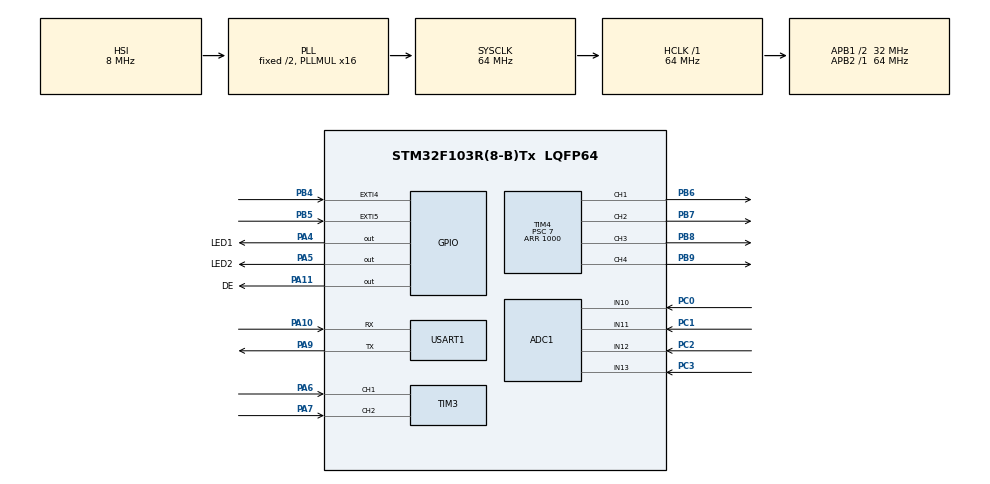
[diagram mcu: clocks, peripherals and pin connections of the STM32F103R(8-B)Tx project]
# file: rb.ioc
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ADC1.Channel-0\#ChannelRegularConversion=ADC_CHANNEL_11
ADC1.Channel-1\#ChannelRegularConversion=ADC_CHANNEL_10
ADC1.Channel-2\#ChannelRegularConversion=ADC_CHANNEL_12
ADC1.Channel-3\#ChannelRegularConversion=ADC_CHANNEL_13
ADC1.ContinuousConvMode=ENABLE
ADC1.NbrOfConversion=4
ADC1.NbrOfConversionFlag=1
ADC1.Rank-0\#ChannelRegularConversion=1
ADC1.Rank-1\#ChannelRegularConversion=2
ADC1.Rank-2\#ChannelRegularConversion=3
ADC1.Rank-3\#ChannelRegularConversion=4
ADC1.SamplingTime-0\#ChannelRegularConversion=ADC_SAMPLETIME_7CYCLES_5
ADC1.SamplingTime-1\#ChannelRegularConversion=ADC_SAMPLETIME_7CYCLES_5
ADC1.SamplingTime-2\#ChannelRegularConversion=ADC_SAMPLETIME_7CYCLES_5
ADC1.SamplingTime-3\#ChannelRegularConversion=ADC_SAMPLETIME_7CYCLES_5
ADC1.master=1
Dma.ADC1.0.Direction=DMA_PERIPH_TO_MEMORY
Dma.ADC1.0.Instance=DMA1_Channel1
Dma.ADC1.0.MemDataAlignment=DMA_MDATAALIGN_HALFWORD
Dma.ADC1.0.MemInc=DMA_MINC_ENABLE
Dma.ADC1.0.Mode=DMA_CIRCULAR
Dma.ADC1.0.PeriphDataAlignment=DMA_PDATAALIGN_HALFWORD
Dma.ADC1.0.PeriphInc=DMA_PINC_DISABLE
Dma.ADC1.0.Priority=DMA_PRIORITY_LOW
Dma.Request0=ADC1
Mcu.Family=STM32F1
Mcu.Name=STM32F103R(8-B)Tx
Mcu.Package=LQFP64
NVIC.DMA1_Channel1_IRQn=true\:0\:0\:false\:false\:true\:false\:true\:true
NVIC.EXTI4_IRQn=true\:1\:0\:true\:false\:true\:true\:true\:true
NVIC.EXTI9_5_IRQn=true\:1\:0\:true\:false\:true\:true\:true\:true
NVIC.PriorityGroup=NVIC_PRIORITYGROUP_4
NVIC.TIM1_UP_IRQn=true\:2\:0\:true\:false\:true\:true\:true\:true
NVIC.TIM2_IRQn=true\:0\:0\:false\:false\:true\:true\:true\:true
NVIC.USART1_IRQn=true\:3\:0\:true\:false\:true\:true\:true\:true
PA10.Mode=Asynchronous
PA10.Signal=USART1_RX
PA11.GPIO_Label=DE
PA11.Signal=GPIO_Output
PA13.Mode=Serial_Wire
PA13.Signal=SYS_JTMS-SWDIO
PA14.Mode=Serial_Wire
PA14.Signal=SYS_JTCK-SWCLK
PA4.GPIO_Label=LED1
PA4.Signal=GPIO_Output
PA5.GPIO_Label=LED2
PA5.Signal=GPIO_Output
PA6.Signal=S_TIM3_CH1
PA7.Signal=S_TIM3_CH2
PA9.Mode=Asynchronous
PA9.Signal=USART1_TX
PB4.Signal=GPXTI4
PB5.Signal=GPXTI5
PB6.Signal=S_TIM4_CH1
PB7.Signal=S_TIM4_CH2
PB8.Signal=S_TIM4_CH3
PB9.Signal=S_TIM4_CH4
PC0.Signal=ADCx_IN10
PC1.Signal=ADCx_IN11
PC2.Signal=ADCx_IN12
PC3.Signal=ADCx_IN13
ProjectManager.HeapSize=0x200
ProjectManager.StackSize=0x400
ProjectManager.TargetToolchain=STM32CubeIDE
RCC.ADCPresc=RCC_ADCPCLK2_DIV8
RCC.AHBFreq_Value=64000000
RCC.APB1CLKDivider=RCC_HCLK_DIV2
RCC.APB1Freq_Value=32000000
RCC.APB1TimFreq_Value=64000000
RCC.APB2Freq_Value=64000000
RCC.APB2TimFreq_Value=64000000
RCC.HCLKFreq_Value=64000000
RCC.PLLMUL=RCC_PLL_MUL16
RCC.SYSCLKFreq_VALUE=64000000
RCC.SYSCLKSource=RCC_SYSCLKSOURCE_PLLCLK
RCC.USBFreq_Value=64000000
SH.ADCx_IN10.0=ADC1_IN10,IN10
SH.ADCx_IN11.0=ADC1_IN11,IN11
SH.ADCx_IN12.0=ADC1_IN12,IN12
SH.ADCx_IN13.0=ADC1_IN13,IN13
SH.S_TIM3_CH1.0=TIM3_CH1,Encoder_Interface
SH.S_TIM3_CH2.0=TIM3_CH2,Encoder_Interface
SH.S_TIM4_CH1.0=TIM4_CH1,PWM Generation1 CH1
SH.S_TIM4_CH2.0=TIM4_CH2,PWM Generation2 CH2
SH.S_TIM4_CH3.0=TIM4_CH3,PWM Generation3 CH3
SH.S_TIM4_CH4.0=TIM4_CH4,PWM Generation4 CH4
TIM1.Period=99
TIM1.Prescaler=63
TIM2.Prescaler=1
TIM3.EncoderMode=TIM_ENCODERMODE_TI12
TIM3.IC1Filter=4
TIM3.IC2Filter=4
TIM4.Channel-PWM\ Generation1\ CH1=TIM_CHANNEL_1
TIM4.Channel-PWM\ Generation2\ CH2=TIM_CHANNEL_2
TIM4.Channel-PWM\ Generation3\ CH3=TIM_CHANNEL_3
TIM4.Channel-PWM\ Generation4\ CH4=TIM_CHANNEL_4
TIM4.Period=1000
TIM4.Prescaler=7
USART1.VirtualMode=VM_ASYNC
VP_TIM1_VS_ClockSourceINT.Mode=Internal
VP_TIM2_VS_ClockSourceINT.Mode=Internal
VP_TIM4_VS_ClockSourceINT.Mode=Internal
board=custom

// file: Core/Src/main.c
/* USER CODE BEGIN Header */
/**
  ******************************************************************************
  * @file           : main.c
  * @brief          : Main program body
  ******************************************************************************
  * @attention
  *
  * Copyright (c) 2026 STMicroelectronics.
  * All rights reserved.
  *
  * This software is licensed under terms that can be found in the LICENSE file
  * in the root directory of this software component.
  * If no LICENSE file comes with this software, it is provided AS-IS.
  *
  ******************************************************************************
  */
/* USER CODE END Header */
#include "main.h"

/* USER CODE BEGIN Includes */
#include "motor_control.h"
#include "modbus.h"
#include "input.h"      /* MotorControl_ProcessInputs / MotorControl_UpdateIrqPriority */
#include "afangkaobei.h"
#include "ajiajiansu.h"
/* USER CODE END Includes */

ADC_HandleTypeDef hadc1;
DMA_HandleTypeDef hdma_adc1;

TIM_HandleTypeDef htim1;
TIM_HandleTypeDef htim2;
TIM_HandleTypeDef htim3;
TIM_HandleTypeDef htim4;

UART_HandleTypeDef huart1;

/* USER CODE BEGIN PV */
MotorControl_t motor;
MB_Context_t mb_ctx;
/* USER CODE END PV */

void SystemClock_Config(void);
static void MX_GPIO_Init(void);
static void MX_DMA_Init(void);
static void MX_TIM3_Init(void);
static void MX_TIM4_Init(void);
static void MX_USART1_UART_Init(void);
static void MX_TIM1_Init(void);
static void MX_ADC1_Init(void);
static void MX_TIM2_Init(void);

int main(void)
{

  /* MCU Configuration--------------------------------------------------------*/

  /* Reset of all peripherals, Initializes the Flash interface and the Systick. */
  HAL_Init();

  /* Configure the system clock */
  SystemClock_Config();

  /* Initialize all configured peripherals */
  MX_GPIO_Init();
  MX_DMA_Init();
  MX_TIM3_Init();
  MX_TIM4_Init();
  MX_USART1_UART_Init();
  MX_TIM1_Init();
  MX_ADC1_Init();
  MX_TIM2_Init();
  /* USER CODE BEGIN 2 */
  /* 初始化电机控读取PID: 位置�???? Kp=7.00 Ki=10.00 Kd=0.10 | 速度�???? Kp=0.30 Ki=3.00 Kd=0.00�????? */
  MotorControl_Init(&motor, 7.0f, 10.1f, 0.1f, 0.30f, 3.0f, 0.0f, 1, 900);
  if (MODBUS_IsSupportedBaud(motor.modbus_baud) && huart1.Init.BaudRate != motor.modbus_baud) {
    HAL_UART_DeInit(&huart1);
    huart1.Init.BaudRate = motor.modbus_baud;
    if (HAL_UART_Init(&huart1) != HAL_OK) {
      Error_Handler();
    }
  }

  /* 初始化MODBUS RTU协议 */
  MODBUS_Init(&mb_ctx, motor.modbus_addr, &motor);

  /* 启动电机控制 */
  Motor_Start();

  /* ========== 开机自动零点电流校准(新增) ==========
   * 若Flash中使能了auto_calib_current_on_boot(上位机0x00A0=1):
   *   每次开机自动读取ADC零电流offset, 结果仅用于本次运行, 不保存Flash
   *   避免频繁烧写Flash, 适合零点会随温度漂移的场景
   * 若关闭(0x00A0=0, 默认): 使用Flash中保存的offset, 用户手动校准(写0x004D=0xFFFF)后存Flash
   * 此时Motor_Start已启动ADC DMA, 且TIM1 PID中断尚未启动, 电机无电流, 是校准最佳时机 */
  if (motor.auto_calib_current_on_boot) {
    /* 等待ADC DMA缓冲区填满(连续转换模式, 10ms足够100个样本刷新多轮) */
    HAL_Delay(10);
    MotorControl_AutoCalibrateCurrentOffset(&motor);
    /* 不调用SaveConfig: 避免每次开机烧写Flash */
  }

  /* 加速表开机加载(新增): 检查Flash中是否有自定义加速表, 有则切换指针 */
  AccTable_LoadOnBoot();
  /* 同步加速表参数到MODBUS缓存: 使上位机读取0x0092~0x0097时能读到Flash中的实际参数,
   * 而非默认值. 解决重启后上位机显示默认参数、用户误以为表被重置的问题 */
  MODBUS_SyncAccParams();

  if (motor.home_auto_start) {
    MotorControl_StartHoming(&motor);
  }
  /* 启动TIM1 100us中断（MODBUS帧间超时 + PID定时器滴答 */
  HAL_TIM_Base_Start_IT(&htim1);
  /* TIM1固定优先级1(覆盖CubeMX在MspInit中的默认值2, 不再随脉冲模式动态切换)
   * EXTI脉冲中断同为优先级1, 同级不互相抢占, 靠硬件PR锁存保证不丢脉冲 */
  //HAL_NVIC_SetPriority(TIM1_UP_IRQn, 1, 0);

  /* 启动UART中断接收（每字节，由HAL_UART_RxCpltCallback处理） */
  HAL_UART_Receive_IT(&huart1, &mb_ctx.rx_byte, 1);

  /* EXTI外部中断由MotorControl_UpdateIrqPriority统一配置:
   *   PB4/PB5配置为PIN_FUNC_PULSE时, 启用EXTI边沿触发(优先级1, 与TIM1同级)
   *   无脉冲输入时关闭EXTI NVIC, 释放CPU给USART1等
   * 注: TIM2已释放可作其他用途, 由EXTI4/EXTI9_5中断直接处理脉冲边沿 */
  MotorControl_UpdateIrqPriority();

  /* 中断优先级配置: 使用Flash中保存的值(可通过上位机MODBUS寄存器0x00A3~0x00A7在线调整)
   * 默认值(与原硬编码一致): USART1=1, TIM1=2, TIM2=3, EXTI4=1, EXTI9_5=1
   * 优先级原则(数值小=优先级高):
   *   USART1 - 串口字节到达必须立即处理, 避免ORE溢出丢包
   *   TIM1_UP - 100μs周期PID
   *   EXTI4/EXTI9_5 - 脉冲输入, 靠硬件PR锁存保证不丢边沿
   * 注: MX_GPIO_Init设EXTI=0(最高), stm32f1xx_hal_msp.c设TIM1=2/USART1=3,
   *     此处用Flash配置值覆盖MspInit的默认值 */
  HAL_NVIC_SetPriority(USART1_IRQn, motor.irq_prio_usart1, 0);
  HAL_NVIC_SetPriority(TIM1_UP_IRQn, motor.irq_prio_tim1, 0);
  HAL_NVIC_SetPriority(TIM2_IRQn, motor.irq_prio_tim2, 0);
  HAL_NVIC_SetPriority(EXTI4_IRQn, motor.irq_prio_exti4, 0);
  HAL_NVIC_SetPriority(EXTI9_5_IRQn, motor.irq_prio_exti9_5, 0);
  /* USER CODE END 2 */

  /* Infinite loop */
  /* USER CODE BEGIN WHILE */
  /* 步进加减速: 若Flash中使能(上位机勾选并保存), 初始化算法并启动TIM2 (新增)
   * 未使能时TIM2不启动, 保持原有行为不变 */
  if (motor.step_accel_en) {
      StepAccel_Enable(1, Encoder_GetCount());
  }
  while(fangkaobei(0) == 1);
  while (1)
  {
	  /* ========== 电机运行参数读取（每次主循环刷新）==========
	   * 这些变量可在下方任意逻辑中直接使用, 也可通过调试器/串口观察 */
	  int64_t cur_pos    = Encoder_GetCount();      /* 当前实际编码器位置(脉冲) */
	  float   cur_speed  = Encoder_GetSpeed();      /* 当前实际速度(脉冲/秒, 已滤波) */
	  int64_t tgt_pos    = motor.target_position;   /* 目标位置(脉冲)
	                                                 * 注意: 步进加减速使能时此处为算法输出的中间位置,
	                                                 * 真正的预设目标在 bujindianji[0].yudingweizhi */
	  float   tgt_speed  = motor.target_speed;      /* 目标速度(脉冲/秒) */
	  int16_t cur_pwm    = MotorControl_GetPWM();   /* 当前PWM输出(-1000~+1000 = -100%~+100%) */
	  MotorMode_t mode   = motor.mode;              /* 当前运行模式 */
	  float   cur_cur    = MotorControl_GetCurrent();         /* 当前实际电流(相对值, ±1000=±8.25A) */
	  float   tgt_cur    = MotorControl_GetCurrentTarget();   /* 电流目标(相对值) */
	  float   supply_v   = MotorControl_GetSupplyVoltage();   /* 供电电压(V) */

	  // 示例：每 500ms 执行一次
	  static int64_t last_500ms = 0;
	  int64_t now = SYS_GetTimeMs();
	  if (now - last_500ms >= 500) {
		  last_500ms = now;
	  }

	  /* 每5秒在位置0和10000之间来回切换 */
	  static int64_t last_2s = 0;
	  static int64_t weizhi = 0;
	  if (now - last_2s >= 1000) {
		  last_2s = now;
		  if(weizhi == 1000) weizhi = 0;
		  else weizhi = 1000;
		  MotorControl_SetTarget(&motor, weizhi);
		  MODBUS_SyncTargetPosition(weizhi);
	  }

    /* ============ 系统任务（勿删）============ */
	  /* ========== LED1 状态指示灯 ==========
		   * 正常状态：常亮（高电平）
		   * 异常状态（复位中/复位失败/堵转/过流）：闪烁（200ms周期，约5Hz） */
		  {
			  uint8_t has_fault = 0;
			  if (MotorControl_IsHoming())           has_fault = 1;  /* 正在复位 */
			  else if (MotorControl_HomingFailed())  has_fault = 1;  /* 复位失败 */
			  else if (MotorControl_IsStallTripped()) has_fault = 1; /* 堵转保护 */
			  else if (motor.over_current_tripped)   has_fault = 1;  /* 过流保护 */

			  if (has_fault) {
				  static int64_t last_led1_toggle = 0;
				  if (now - last_led1_toggle >= 200) {
					  last_led1_toggle = now;
					  HAL_GPIO_TogglePin(LED1_GPIO_Port, LED1_Pin);
				  }
			  } else {
				  HAL_GPIO_WritePin(LED1_GPIO_Port, LED1_Pin, GPIO_PIN_SET);  /* 常亮（高电平） */
			  }
		  }

		  /* ========== LED2 通讯状态指示灯 ==========
		   * 收到MODBUS帧时点亮50ms，平时熄灭 */
		  {
			  static uint32_t last_rx_count = 0;
			  static int64_t led2_on_time = 0;
			  if (mb_ctx.rx_count != last_rx_count) {
				  last_rx_count = mb_ctx.rx_count;
				  led2_on_time = now;
				  HAL_GPIO_WritePin(LED2_GPIO_Port, LED2_Pin, GPIO_PIN_SET);
			  } else if (now - led2_on_time >= 50) {
				  HAL_GPIO_WritePin(LED2_GPIO_Port, LED2_Pin, GPIO_PIN_RESET);
			  }
		  }
    /* 处理PB4/PB5输入引脚 */
    MotorControl_ProcessInputs();

    /* 处理MODBUS�????? */
    MODBUS_Process(&mb_ctx);

    /* �?????测UART接收是否意外停止（ORE等错误后HAL会中止），自动重�????? */
    if (huart1.RxState == HAL_UART_STATE_READY) {
      HAL_UART_Receive_IT(&huart1, &mb_ctx.rx_byte, 1);
    }
  }
  /* USER CODE END 3 */
}

void SystemClock_Config(void)
{
  RCC_OscInitTypeDef RCC_OscInitStruct = {0};
  RCC_ClkInitTypeDef RCC_ClkInitStruct = {0};
  RCC_PeriphCLKInitTypeDef PeriphClkInit = {0};

  /** Initializes the RCC Oscillators according to the specified parameters
  * in the RCC_OscInitTypeDef structure.
  */
  RCC_OscInitStruct.OscillatorType = RCC_OSCILLATORTYPE_HSI;
  RCC_OscInitStruct.HSIState = RCC_HSI_ON;
  RCC_OscInitStruct.HSICalibrationValue = RCC_HSICALIBRATION_DEFAULT;
  RCC_OscInitStruct.PLL.PLLState = RCC_PLL_ON;
  RCC_OscInitStruct.PLL.PLLSource = RCC_PLLSOURCE_HSI_DIV2;
  RCC_OscInitStruct.PLL.PLLMUL = RCC_PLL_MUL16;
  if (HAL_RCC_OscConfig(&RCC_OscInitStruct) != HAL_OK)
  {
    Error_Handler();
  }

  /** Initializes the CPU, AHB and APB buses clocks
  */
  RCC_ClkInitStruct.ClockType = RCC_CLOCKTYPE_HCLK|RCC_CLOCKTYPE_SYSCLK
                              |RCC_CLOCKTYPE_PCLK1|RCC_CLOCKTYPE_PCLK2;
  RCC_ClkInitStruct.SYSCLKSource = RCC_SYSCLKSOURCE_PLLCLK;
  RCC_ClkInitStruct.AHBCLKDivider = RCC_SYSCLK_DIV1;
  RCC_ClkInitStruct.APB1CLKDivider = RCC_HCLK_DIV2;
  RCC_ClkInitStruct.APB2CLKDivider = RCC_HCLK_DIV1;

  if (HAL_RCC_ClockConfig(&RCC_ClkInitStruct, FLASH_LATENCY_2) != HAL_OK)
  {
    Error_Handler();
  }
  PeriphClkInit.PeriphClockSelection = RCC_PERIPHCLK_ADC;
  PeriphClkInit.AdcClockSelection = RCC_ADCPCLK2_DIV8;
  if (HAL_RCCEx_PeriphCLKConfig(&PeriphClkInit) != HAL_OK)
  {
    Error_Handler();
  }
}

static void MX_ADC1_Init(void)
{

  ADC_ChannelConfTypeDef sConfig = {0};

  /** Common config
  */
  hadc1.Instance = ADC1;
  hadc1.Init.ScanConvMode = ADC_SCAN_ENABLE;
  hadc1.Init.ContinuousConvMode = ENABLE;
  hadc1.Init.DiscontinuousConvMode = DISABLE;
  hadc1.Init.ExternalTrigConv = ADC_SOFTWARE_START;
  hadc1.Init.DataAlign = ADC_DATAALIGN_RIGHT;
  hadc1.Init.NbrOfConversion = 4;
  if (HAL_ADC_Init(&hadc1) != HAL_OK)
  {
    Error_Handler();
  }

  /** Configure Regular Channel
  */
  sConfig.Channel = ADC_CHANNEL_11;
  sConfig.Rank = ADC_REGULAR_RANK_1;
  sConfig.SamplingTime = ADC_SAMPLETIME_7CYCLES_5;
  if (HAL_ADC_ConfigChannel(&hadc1, &sConfig) != HAL_OK)
  {
    Error_Handler();
  }

  /** Configure Regular Channel
  */
  sConfig.Channel = ADC_CHANNEL_10;
  sConfig.Rank = ADC_REGULAR_RANK_2;
  if (HAL_ADC_ConfigChannel(&hadc1, &sConfig) != HAL_OK)
  {
    Error_Handler();
  }

  /** Configure Regular Channel
  */
  sConfig.Channel = ADC_CHANNEL_12;
  sConfig.Rank = ADC_REGULAR_RANK_3;
  if (HAL_ADC_ConfigChannel(&hadc1, &sConfig) != HAL_OK)
  {
    Error_Handler();
  }

  /** Configure Regular Channel
  */
  sConfig.Channel = ADC_CHANNEL_13;
  sConfig.Rank = ADC_REGULAR_RANK_4;
  if (HAL_ADC_ConfigChannel(&hadc1, &sConfig) != HAL_OK)
  {
    Error_Handler();
  }
  /* USER CODE BEGIN ADC1_Init 2 */
  /* STM32F1的ADC必须执行校准, 否则HAL_ADC_Start_DMA会卡死或转换结果异常
   * 校准必须在ADC关闭状态下执行, HAL_ADCEx_Calibration_Start内部会先关ADC再校准 */
  if (HAL_ADCEx_Calibration_Start(&hadc1) != HAL_OK)
  {
    Error_Handler();
  }
  /* USER CODE END ADC1_Init 2 */

}

static void MX_TIM1_Init(void)
{

  TIM_ClockConfigTypeDef sClockSourceConfig = {0};
  TIM_MasterConfigTypeDef sMasterConfig = {0};

  htim1.Instance = TIM1;
  htim1.Init.Prescaler = 63;
  htim1.Init.CounterMode = TIM_COUNTERMODE_UP;
  htim1.Init.Period = 99;
  htim1.Init.ClockDivision = TIM_CLOCKDIVISION_DIV1;
  htim1.Init.RepetitionCounter = 0;
  htim1.Init.AutoReloadPreload = TIM_AUTORELOAD_PRELOAD_DISABLE;
  if (HAL_TIM_Base_Init(&htim1) != HAL_OK)
  {
    Error_Handler();
  }
  sClockSourceConfig.ClockSource = TIM_CLOCKSOURCE_INTERNAL;
  if (HAL_TIM_ConfigClockSource(&htim1, &sClockSourceConfig) != HAL_OK)
  {
    Error_Handler();
  }
  sMasterConfig.MasterOutputTrigger = TIM_TRGO_RESET;
  sMasterConfig.MasterSlaveMode = TIM_MASTERSLAVEMODE_DISABLE;
  if (HAL_TIMEx_MasterConfigSynchronization(&htim1, &sMasterConfig) != HAL_OK)
  {
    Error_Handler();
  }

}

static void MX_TIM2_Init(void)
{

  TIM_ClockConfigTypeDef sClockSourceConfig = {0};
  TIM_MasterConfigTypeDef sMasterConfig = {0};

  htim2.Instance = TIM2;
  htim2.Init.Prescaler = 1;
  htim2.Init.CounterMode = TIM_COUNTERMODE_UP;
  htim2.Init.Period = 65535;
  htim2.Init.ClockDivision = TIM_CLOCKDIVISION_DIV1;
  htim2.Init.AutoReloadPreload = TIM_AUTORELOAD_PRELOAD_DISABLE;
  if (HAL_TIM_Base_Init(&htim2) != HAL_OK)
  {
    Error_Handler();
  }
  sClockSourceConfig.ClockSource = TIM_CLOCKSOURCE_INTERNAL;
  if (HAL_TIM_ConfigClockSource(&htim2, &sClockSourceConfig) != HAL_OK)
  {
    Error_Handler();
  }
  sMasterConfig.MasterOutputTrigger = TIM_TRGO_RESET;
  sMasterConfig.MasterSlaveMode = TIM_MASTERSLAVEMODE_DISABLE;
  if (HAL_TIMEx_MasterConfigSynchronization(&htim2, &sMasterConfig) != HAL_OK)
  {
    Error_Handler();
  }

}

static void MX_TIM3_Init(void)
{

  TIM_Encoder_InitTypeDef sConfig = {0};
  TIM_MasterConfigTypeDef sMasterConfig = {0};

  htim3.Instance = TIM3;
  htim3.Init.Prescaler = 0;
  htim3.Init.CounterMode = TIM_COUNTERMODE_UP;
  htim3.Init.Period = 65535;
  htim3.Init.ClockDivision = TIM_CLOCKDIVISION_DIV1;
  htim3.Init.AutoReloadPreload = TIM_AUTORELOAD_PRELOAD_DISABLE;
  sConfig.EncoderMode = TIM_ENCODERMODE_TI12;
  sConfig.IC1Polarity = TIM_ICPOLARITY_RISING;
  sConfig.IC1Selection = TIM_ICSELECTION_DIRECTTI;
  sConfig.IC1Prescaler = TIM_ICPSC_DIV1;
  sConfig.IC1Filter = 4;
  sConfig.IC2Polarity = TIM_ICPOLARITY_RISING;
  sConfig.IC2Selection = TIM_ICSELECTION_DIRECTTI;
  sConfig.IC2Prescaler = TIM_ICPSC_DIV1;
  sConfig.IC2Filter = 4;
  if (HAL_TIM_Encoder_Init(&htim3, &sConfig) != HAL_OK)
  {
    Error_Handler();
  }
  sMasterConfig.MasterOutputTrigger = TIM_TRGO_RESET;
  sMasterConfig.MasterSlaveMode = TIM_MASTERSLAVEMODE_DISABLE;
  if (HAL_TIMEx_MasterConfigSynchronization(&htim3, &sMasterConfig) != HAL_OK)
  {
    Error_Handler();
  }

}

static void MX_TIM4_Init(void)
{

  TIM_ClockConfigTypeDef sClockSourceConfig = {0};
  TIM_MasterConfigTypeDef sMasterConfig = {0};
  TIM_OC_InitTypeDef sConfigOC = {0};

  htim4.Instance = TIM4;
  htim4.Init.Prescaler = 7;
  htim4.Init.CounterMode = TIM_COUNTERMODE_UP;
  htim4.Init.Period = 1000;
  htim4.Init.ClockDivision = TIM_CLOCKDIVISION_DIV1;
  htim4.Init.AutoReloadPreload = TIM_AUTORELOAD_PRELOAD_DISABLE;
  if (HAL_TIM_Base_Init(&htim4) != HAL_OK)
  {
    Error_Handler();
  }
  sClockSourceConfig.ClockSource = TIM_CLOCKSOURCE_INTERNAL;
  if (HAL_TIM_ConfigClockSource(&htim4, &sClockSourceConfig) != HAL_OK)
  {
    Error_Handler();
  }
  if (HAL_TIM_PWM_Init(&htim4) != HAL_OK)
  {
    Error_Handler();
  }
  sMasterConfig.MasterOutputTrigger = TIM_TRGO_RESET;
  sMasterConfig.MasterSlaveMode = TIM_MASTERSLAVEMODE_DISABLE;
  if (HAL_TIMEx_MasterConfigSynchronization(&htim4, &sMasterConfig) != HAL_OK)
  {
    Error_Handler();
  }
  sConfigOC.OCMode = TIM_OCMODE_PWM1;
  sConfigOC.Pulse = 0;
  sConfigOC.OCPolarity = TIM_OCPOLARITY_HIGH;
  sConfigOC.OCFastMode = TIM_OCFAST_DISABLE;
  if (HAL_TIM_PWM_ConfigChannel(&htim4, &sConfigOC, TIM_CHANNEL_1) != HAL_OK)
  {
    Error_Handler();
  }
  if (HAL_TIM_PWM_ConfigChannel(&htim4, &sConfigOC, TIM_CHANNEL_2) != HAL_OK)
  {
    Error_Handler();
  }
  if (HAL_TIM_PWM_ConfigChannel(&htim4, &sConfigOC, TIM_CHANNEL_3) != HAL_OK)
  {
    Error_Handler();
  }
  if (HAL_TIM_PWM_ConfigChannel(&htim4, &sConfigOC, TIM_CHANNEL_4) != HAL_OK)
  {
    Error_Handler();
  }
  HAL_TIM_MspPostInit(&htim4);

}

static void MX_USART1_UART_Init(void)
{

  huart1.Instance = USART1;
  huart1.Init.BaudRate = 115200;
  huart1.Init.WordLength = UART_WORDLENGTH_8B;
  huart1.Init.StopBits = UART_STOPBITS_1;
  huart1.Init.Parity = UART_PARITY_NONE;
  huart1.Init.Mode = UART_MODE_TX_RX;
  huart1.Init.HwFlowCtl = UART_HWCONTROL_NONE;
  huart1.Init.OverSampling = UART_OVERSAMPLING_16;
  if (HAL_UART_Init(&huart1) != HAL_OK)
  {
    Error_Handler();
  }

}

static void MX_DMA_Init(void)
{

  /* DMA controller clock enable */
  __HAL_RCC_DMA1_CLK_ENABLE();

  /* DMA interrupt init */
  /* DMA1_Channel1_IRQn interrupt configuration */
  HAL_NVIC_SetPriority(DMA1_Channel1_IRQn, 0, 0);
  HAL_NVIC_EnableIRQ(DMA1_Channel1_IRQn);

}

static void MX_GPIO_Init(void)
{
  GPIO_InitTypeDef GPIO_InitStruct = {0};

  /* GPIO Ports Clock Enable */
  __HAL_RCC_GPIOC_CLK_ENABLE();
  __HAL_RCC_GPIOA_CLK_ENABLE();
  __HAL_RCC_GPIOB_CLK_ENABLE();

  /*Configure GPIO pin Output Level */
  HAL_GPIO_WritePin(GPIOA, LED1_Pin|LED2_Pin|DE_Pin, GPIO_PIN_RESET);

  /*Configure GPIO pins : LED1_Pin LED2_Pin DE_Pin */
  GPIO_InitStruct.Pin = LED1_Pin|LED2_Pin|DE_Pin;
  GPIO_InitStruct.Mode = GPIO_MODE_OUTPUT_PP;
  GPIO_InitStruct.Pull = GPIO_NOPULL;
  GPIO_InitStruct.Speed = GPIO_SPEED_FREQ_LOW;
  HAL_GPIO_Init(GPIOA, &GPIO_InitStruct);

  /*Configure GPIO pins : PB4 PB5 */
  GPIO_InitStruct.Pin = GPIO_PIN_4|GPIO_PIN_5;
  GPIO_InitStruct.Mode = GPIO_MODE_IT_RISING;
  GPIO_InitStruct.Pull = GPIO_NOPULL;
  HAL_GPIO_Init(GPIOB, &GPIO_InitStruct);

  /* EXTI interrupt init*/
  HAL_NVIC_SetPriority(EXTI4_IRQn, 1, 0);
  HAL_NVIC_EnableIRQ(EXTI4_IRQn);

  HAL_NVIC_SetPriority(EXTI9_5_IRQn, 1, 0);
  HAL_NVIC_EnableIRQ(EXTI9_5_IRQn);

}

/* USER CODE BEGIN 4 */

/**
  * @brief  UART发送完成回调（硬件TC标志触发）
  *         中断发送模式下, 最后一个字节停止位移出后硬件置TC,
  *         HAL_UART_IRQHandler调用本回调. 在此精确控制RS485 DE拉低.
  * @note   相比原轮询TC方案, 此方案DE拉低时机由硬件精确触发, 无CPU轮询延迟.
  *         回调在中断上下文执行, 延迟仅~1-2μs.
  */
void HAL_UART_TxCpltCallback(UART_HandleTypeDef *huart)
{
    if (huart->Instance == USART1) {
        /* RS485方向切换: 发送完成, DE=0回到接收模式 */
        HAL_GPIO_WritePin(DE_GPIO_Port, DE_Pin, GPIO_PIN_RESET);
        mb_ctx.tx_busy = 0;

        /* 发送期间若接收被关闭(gState=BUSY_TX导致HAL_UART_Receive_IT失败),
         * 现在发送完成gState已回READY, 确保接收已重启.
         * 若接收已在运行(RxState=BUSY_RX), 跳过避免重复启动. */
        if (huart->RxState != HAL_UART_STATE_BUSY_RX) {
            HAL_UART_Receive_IT(&huart1, &mb_ctx.rx_byte, 1);
        }
    }
}

/**
  * @brief  UART接收完成回调（每收到1字节触发）
  *         将字节存入MODBUS接收缓冲区，并重新启动下�?????字节接收
  */
void HAL_UART_RxCpltCallback(UART_HandleTypeDef *huart)
{
    if (huart->Instance == USART1) {
        /* 将收到的字节交给MODBUS处理 */
        MODBUS_OnByteReceived(&mb_ctx, mb_ctx.rx_byte);
        /* 重新启动下一字节的中断接收.
         * 注意: HAL_UART_Receive_IT在gState=BUSY_TX(发送中)时会返回HAL_BUSY静默失败,
         *   接收会被永久关闭, 后续字节全部丢失. 必须检查返回值, 失败时直接操作寄存器. */
        if (HAL_UART_Receive_IT(&huart1, &mb_ctx.rx_byte, 1) != HAL_OK) {
            /* 发送进行中导致HAL拒绝重启接收: 直接使能RXNEIE保证后续字节能触发中断.
             * 发送完成后, HAL_UART_IRQHandler的TX路径不会关闭RXNEIE,
             * 接收中断会继续触发, 调用本回调重启HAL接收流程. */
            SET_BIT(huart1.Instance->CR1, USART_CR1_RXNEIE);
        }
    }
}

/**
  * @brief  UART错误回调 - ORE/FE/NE错误会中止接收，必须重启
  * 注意: HAL_UART_Receive_IT在huart->gState=BUSY_TX时会返回HAL_BUSY静默失败,
  *       导致接收永久卡死. 必须强制把gState切回READY再重启接收.
  */
void HAL_UART_ErrorCallback(UART_HandleTypeDef *huart)
{
    if (huart->Instance == USART1) {
        /* 清除溢出错误标志 (ORE: 软件读SR然后读DR清零, 或直接清ORECF) */
        __HAL_UART_CLEAR_OREFLAG(huart);
        /* 清除帧错误/噪声错误标志 */
        __HAL_UART_CLEAR_FLAG(huart, UART_FLAG_FE);
        __HAL_UART_CLEAR_FLAG(huart, UART_FLAG_NE);

        /* 强制把HAL状态切回READY.
         * 错误发生时HAL可能把RxState置为READY但gState仍为BUSY_TX(发送中),
         * 直接调HAL_UART_Receive_IT会因gState!=READY返回HAL_BUSY, 接收永远无法重启.
         * 此时必须改用直接寄存器操作重新使能RXNE中断, 绕过HAL状态机. */
        if (huart->gState != HAL_UART_STATE_READY) {
            /* 发送仍在进行: 不能调HAL_UART_Receive_IT(会返回BUSY),
             * 直接使能RXNEIE, 硬件收到下一字节会立即触发中断.
             * HAL_UART_IRQHandler会处理RXNE, 即使gState=BUSY_TX也能读DR. */
            SET_BIT(huart->Instance->CR1, USART_CR1_RXNEIE);
        } else {
            /* 发送已完成: 正常重启接收 */
            HAL_UART_Receive_IT(&huart1, &mb_ctx.rx_byte, 1);
        }
    }
}

/* USER CODE END 4 */

void Error_Handler(void)
{
  __disable_irq();
  while (1)
  {
  }
}
